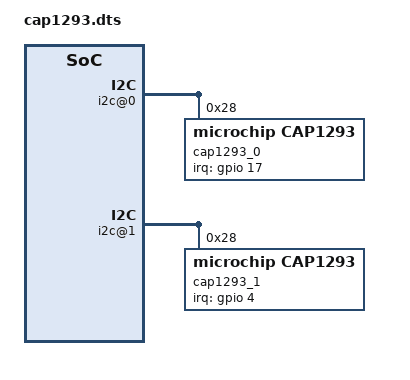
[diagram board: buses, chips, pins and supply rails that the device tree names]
/dts-v1/;
/plugin/;

/ {
    fragment@0 {
        target = <&gpio>;
        __overlay__ {
            cap1293_pins_0: cap1293_pins_0 {
                brcm,pins = <17>;
                brcm,function = <0>; /* in */
                brcm,pull = <0>; /* none */
            };
        };
    };

    fragment@1 {
        target-path = "/soc/i2c@7e804000/mux@70/i2c@0"; //phandle for i2c channel 1 on pca954x
        __overlay__ {
            status = "okay";
            cap1293_0: cap1293_0@28 {
                compatible = "microchip,cap1293";
                pinctrl-0 = <&cap1293_pins_0>;
                pinctrl-names = "default";
                interrupt-parent = <&gpio>;
                interrupts = <17 2>;
                microchip,signal-guard = <1>;
                microchip,sensitivity-delta-sense = <16>;
                reg = <0x28>;
                autorepeat;
                microchip,sensor-gain = <2>;
                linux,keycodes = <2>;
                #address-cells = <1>;
                #size-cells = <0>;
                status = "okay";
            };
        };
    };

    fragment@2 {
        target = <&gpio>;
        __overlay__ {
            cap1293_pins_1: cap1293_pins_1 {
                brcm,pins = <4>;
                brcm,function = <0>; /* in */
                brcm,pull = <0>; /* none */
            };
        };
    };

    fragment@3 {
        target-path = "/soc/i2c@7e804000/mux@70/i2c@1"; //phandle for i2c channel 1 on pca954x
        __overlay__ {
            status = "okay";
            cap1293_1: cap1293_1@28 {
                compatible = "microchip,cap1293";
                pinctrl-0 = <&cap1293_pins_1>;
                pinctrl-names = "default";
                interrupt-parent = <&gpio>;
                microchip,signal-guard = <1>;
                interrupts = <4 2>;
                reg = <0x28>;
                autorepeat;
                microchip,sensor-gain = <2>;
                linux,keycodes = <5>;
                #address-cells = <1>;
                #size-cells = <0>;
                status = "okay";
            };
        };
    };

    int_pins: interrupt_pins {
        compatible = "interrupt-pins";
        int_pin_0: interrupt_0 {
            int_pin = <&cap1293_0>, "interrupts:0",
                      <&cap1293_pins_0>, "brcm,pins:0";
        };
        int_pin_1: interrupt_1 {
            int_pin = <&cap1293_1>, "interrupts:0",
                      <&cap1293_pins_1>, "brcm,pins:0";
        };
    };
};
